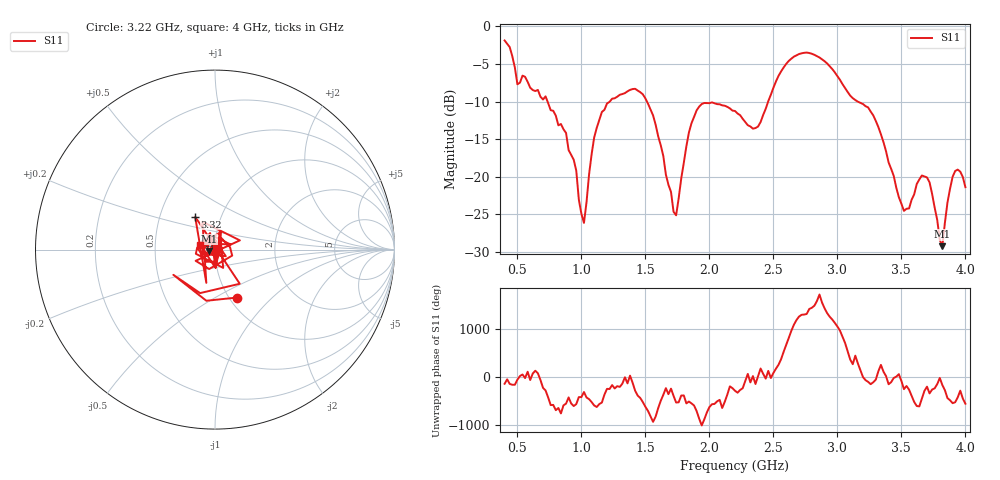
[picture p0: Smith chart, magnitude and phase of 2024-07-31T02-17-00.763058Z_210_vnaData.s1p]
!Created with skrf (http://scikit-rf.org).
# Hz S RI R 50.0
!freq ReS11 ImS11
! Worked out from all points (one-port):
!   181 points, 400 MHz to 4 GHz, reference 50 ohm
!   lowest |S11| = -29.2 dB at 3.82 GHz (marker M1), VSWR 1.07, Z = 46.7 - j0.711 ohm
!   |S11| at or under -10 dB: 735.4 MHz to 1.222 GHz (486.6 MHz wide, 49.7 % of centre); 1.512 GHz to 2.459 GHz (946.8 MHz wide, 47.7 % of centre); 3.159 GHz to end of sweep
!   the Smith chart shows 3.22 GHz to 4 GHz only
!   S11 on the Smith chart (normalised r, x): 3.22 GHz: 1.09, -0.64; 3.32 GHz: 0.75, +0.29; 4 GHz: 0.85, +0.04
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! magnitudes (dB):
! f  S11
! 400 MHz  -1.9
! 500 MHz  -7.7
! 720 MHz  -9.3
! 860 MHz  -13.7
! 960 MHz  -19.2
! 1.02 GHz  -26.1
! 1.08 GHz  -17.0
! 1.12 GHz  -13.5
! 1.3 GHz  -9.1
! 1.5 GHz  -9.6
! 1.58 GHz  -13.1
! 1.72 GHz  -24.6
! 1.76 GHz  -22.9
! 1.84 GHz  -14.1
! 1.9 GHz  -11.2
! 2.2 GHz  -11.3
! 2.38 GHz  -13.3
! 2.66 GHz  -4.0
! 2.86 GHz  -4.1
! 3.1 GHz  -9.2
! 3.22 GHz  -10.6
! 3.32 GHz  -13.4
! 3.52 GHz  -24.5
! 3.56 GHz  -24.2
! 3.7 GHz  -20.1
! 3.82 GHz  -29.2
! 3.9 GHz  -20.0
! 4 GHz  -21.4
